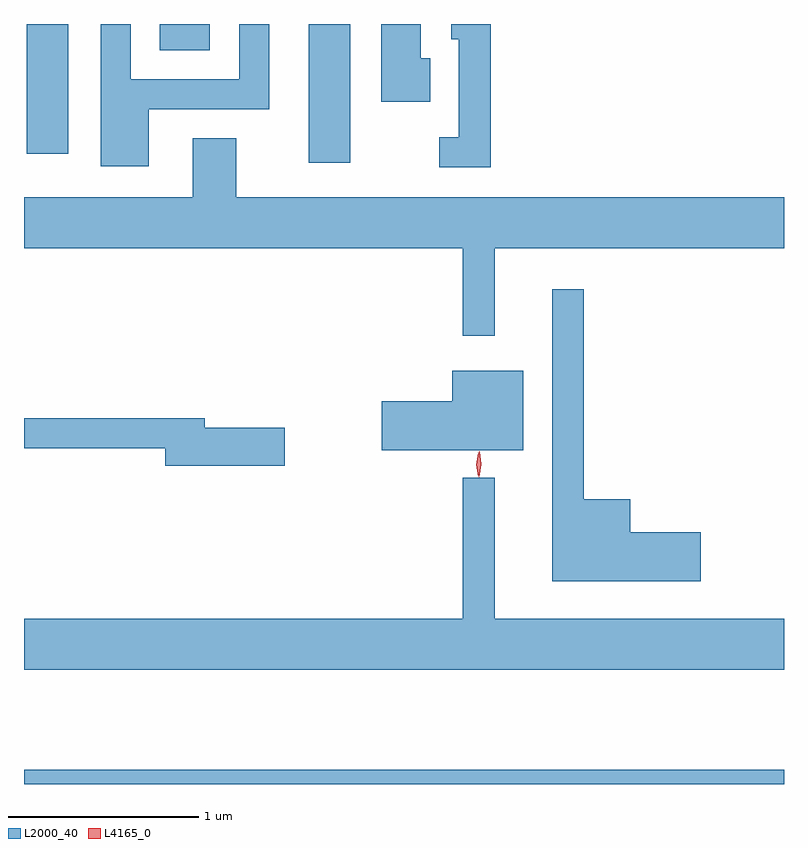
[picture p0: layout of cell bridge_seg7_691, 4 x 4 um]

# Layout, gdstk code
import gdstk
lib = gdstk.Library(unit=1e-6, precision=1e-09)
def R(c, l, rs):  # rectangles x0, y0, x1, y1
    for r in rs: c.add(gdstk.rectangle(r[:2], r[2:], *l))
def P(c, l, *ps):  # polygons
    for p in ps: c.add(gdstk.Polygon(p, *l))
L2000_40 = (2000, 40)
L4165_0 = (4165, 0)

bridge_seg7_691 = lib.new_cell('bridge_seg7_691')
R(bridge_seg7_691, L2000_40, [(921.592,1718.155,925.592,1718.229), (923.091,1721.426,923.309,1722.155), (921.606,1721.471,921.824,1722.155), (922.306,1722.016,922.569,1722.155)])
P(bridge_seg7_691, L2000_40, [(923.729,1721.974),(923.679,1721.974),(923.679,1722.155),(923.471,1722.155),(923.471,1721.746),(923.729,1721.746)],
  [(922.249,1721.706),(922.884,1721.706),(922.884,1722.155),(922.726,1722.155),(922.726,1721.864),(922.154,1721.864),(922.154,1722.155),(921.996,1722.155),(921.996,1721.406),(922.249,1721.406)],
  [(924.049,1722.155),(923.841,1722.155),(923.841,1722.076),(923.881,1722.076),(923.881,1721.559),(923.778,1721.559),(923.778,1721.401),(924.049,1721.401)],
  [(924.069,1720.976),(925.592,1720.976),(925.592,1721.244),(922.709,1721.244),(922.709,1721.554),(922.481,1721.554),(922.481,1721.244),(921.592,1721.244),(921.592,1720.976),(923.901,1720.976),(923.901,1720.513),(924.069,1720.513)],
  [(925.154,1719.479),(924.784,1719.479),(924.784,1719.654),(924.539,1719.654),(924.539,1720.758),(924.371,1720.758),(924.371,1719.221),(925.154,1719.221)],
  [(924.219,1720.329),(923.846,1720.329),(923.846,1720.169),(923.476,1720.169),(923.476,1719.911),(924.219,1719.911)],
  [(922.964,1720.029),(922.544,1720.029),(922.544,1720.079),(921.592,1720.079),(921.592,1719.921),(922.336,1719.921),(922.336,1719.831),(922.964,1719.831)],
  [(925.592,1719.024),(924.069,1719.024),(924.069,1719.768),(923.901,1719.768),(923.901,1719.024),(921.592,1719.024),(921.592,1718.756),(925.592,1718.756)])
P(bridge_seg7_691, L4165_0, [(923.987,1719.77),(923.978,1719.838),(923.989,1719.905),(923.989,1719.906),(923.99,1719.905),(923.998,1719.838),(923.988,1719.77),(923.988,1719.77)],
  [(923.982,1719.773),(923.982,1719.773),(923.972,1719.836),(923.982,1719.899),(923.982,1719.9),(923.983,1719.899),(923.992,1719.836),(923.983,1719.773)])

lib.write_gds('bridge_seg7_691.gds')
